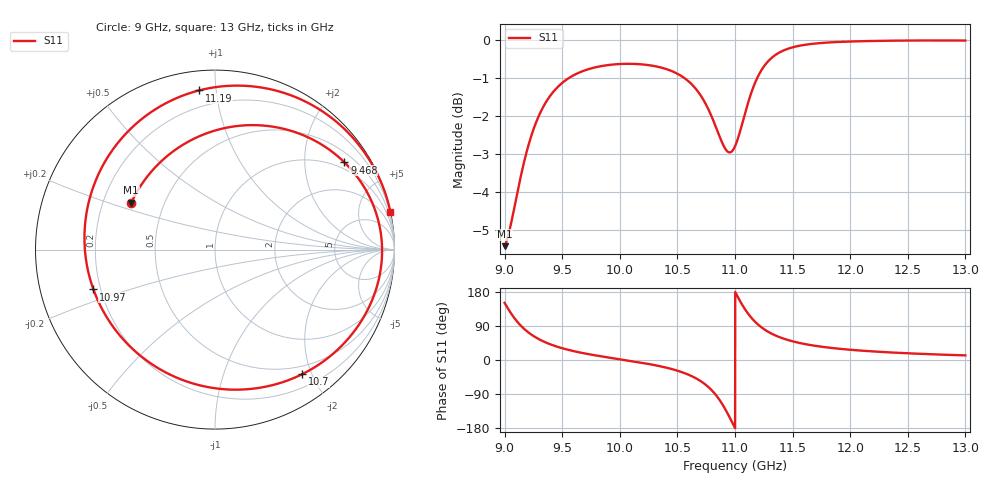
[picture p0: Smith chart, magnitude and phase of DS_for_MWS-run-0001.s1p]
! TOUCHSTONE file generated by CST DESIGN STUDIO
! Date and time: Tue Feb  4 14:29:59 2025
! Project name: C:\Work\MatlabApps\UnitCellOptimizationMatlab\CST\unitcell.cst
! Tree item: Tasks\Sweep1\SPara1\S-Parameters
! Header version: 2024
! Port assignment regex: !\s*Touchstone port\s*([0-9]+)\s*=\s*(CST MWS port|CST DES external port|CST DES block port)\s*(.+)\s* \(\"(.*)\"\)(\s*mode\s*([0-9]+))?.*
! Touchstone port assignment:
! Touchstone port 1 = CST DES external port 1 ("")
# GHz S MA R 50
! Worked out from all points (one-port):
!   4001 points, 9 GHz to 13 GHz, reference 50 ohm
!   lowest |S11| = -5.4 dB at 9 GHz (marker M1), VSWR 3.30, Z = 16.1 + j11.8 ohm
!   |S11| at or under -10 dB: nowhere
!   S11 on the Smith chart (normalised r, x): 9 GHz: 0.32, +0.24; 9.468 GHz: 0.78, +3.10; 10.7 GHz: 0.38, -1.86; 10.97 GHz: 0.17, -0.15; 11.19 GHz: 0.10, +0.90; 13 GHz: 0.03, +9.40
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9  0.5345 150.8
9.092  0.6089 107.7
9.176  0.6975 80.4
9.312  0.8038 52.7
9.468  0.8697 34.0
9.5  0.8785 31.1
9.713  0.9145 16.3
10  0.9305 1.9
10.291  0.9253 -12.8
10.5  0.9034 -28.2
10.609  0.8793 -40.5
10.699  0.847 -55.1
10.791  0.7971 -77.7
10.856  0.7531 -101.1
10.913  0.7201 -128.4
10.971  0.7128 -161.9
11  0.7243 -179.3
11.045  0.7591 154.9
11.099  0.8128 128.4
11.143  0.854 111.1
11.192  0.8912 95.8
11.26  0.9276 79.7
11.33  0.9513 67.7
11.5  0.979 49.3
11.705  0.9907 37.0
12  0.9964 27.0
12.5  0.9994 17.7
13  0.9994 12.2
